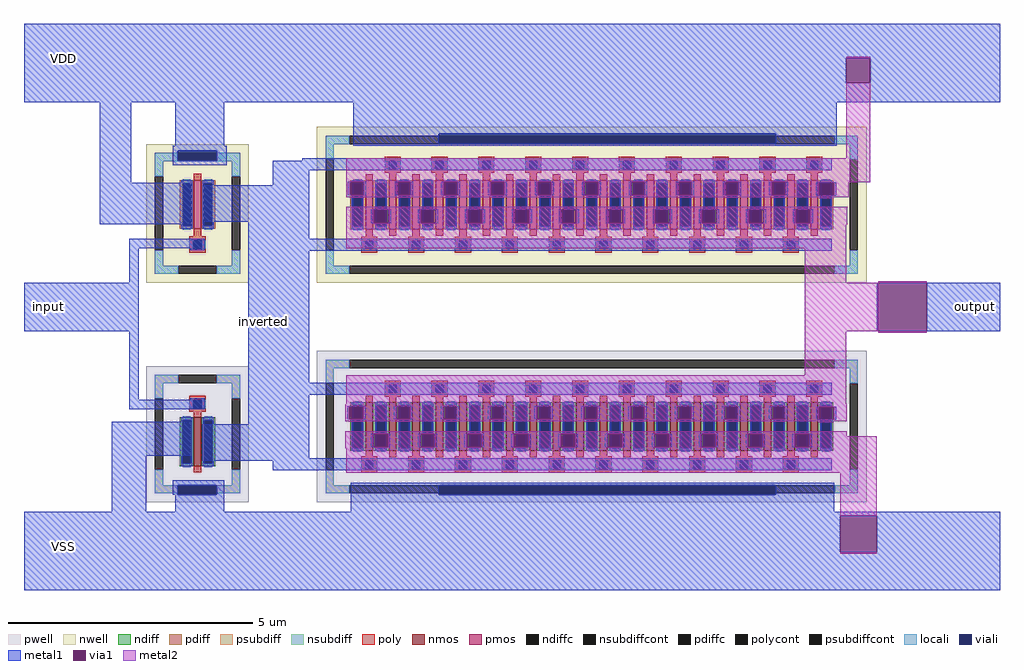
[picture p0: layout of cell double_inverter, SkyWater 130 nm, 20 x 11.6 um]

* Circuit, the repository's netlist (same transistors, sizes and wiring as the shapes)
** sch_path: /home/ttuser/tt09-analog-double-inverter/xschem/double_inverter.sch
.subckt double_inverter VDD VSS output input
*.PININFO VDD:B VSS:B input:I output:O
XM1 inverted input VDD VDD sky130_fd_pr__pfet_01v8 L=0.15 W=1 nf=1 m=1
XM2 inverted input VSS VSS sky130_fd_pr__nfet_01v8 L=0.15 W=1 nf=1 m=1
XM3 output inverted VDD VDD sky130_fd_pr__pfet_01v8 L=0.15 W=20 nf=20 m=1
XM4 output inverted VSS VSS sky130_fd_pr__nfet_01v8 L=0.15 W=20 nf=20 m=1
.ends
.end

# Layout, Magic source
magic
tech sky130A
magscale 1 2
<< viali >>
rect 3500 -630 4880 -590
rect 2430 -700 2590 -660
rect 2430 -2070 2590 -2030
rect 3500 -2070 4880 -2030
<< metal1 >>
rect 1800 -281 5800 -140
rect 1800 -380 5170 -281
rect 5269 -380 5800 -281
rect 1800 -460 5800 -380
rect 2110 -790 2240 -460
rect 2420 -640 2620 -460
rect 3150 -590 5130 -460
rect 3150 -630 3500 -590
rect 4880 -630 5130 -590
rect 3150 -640 5130 -630
rect 2410 -660 2630 -640
rect 2410 -700 2430 -660
rect 2590 -700 2630 -660
rect 2940 -700 5110 -690
rect 2410 -720 2630 -700
rect 2820 -740 5110 -700
rect 2110 -960 2490 -790
rect 2820 -800 2970 -740
rect 2540 -950 2970 -800
rect 3127 -842 3137 -787
rect 3193 -842 3203 -787
rect 3319 -842 3329 -787
rect 3385 -842 3395 -787
rect 3511 -842 3521 -787
rect 3577 -842 3587 -787
rect 3703 -842 3713 -787
rect 3769 -842 3779 -787
rect 3895 -842 3905 -787
rect 3961 -842 3971 -787
rect 4087 -842 4097 -787
rect 4153 -842 4163 -787
rect 4279 -842 4289 -787
rect 4345 -842 4355 -787
rect 4471 -842 4481 -787
rect 4537 -842 4547 -787
rect 4663 -842 4673 -787
rect 4729 -842 4739 -787
rect 4855 -842 4865 -787
rect 4921 -842 4931 -787
rect 5047 -844 5057 -789
rect 5119 -844 5129 -789
rect 2720 -1020 2970 -950
rect 3224 -956 3234 -900
rect 3295 -956 3305 -900
rect 3416 -956 3426 -900
rect 3487 -956 3497 -900
rect 3608 -956 3618 -900
rect 3679 -956 3689 -900
rect 3800 -956 3810 -900
rect 3871 -956 3881 -900
rect 3992 -956 4002 -900
rect 4063 -956 4073 -900
rect 4184 -956 4194 -900
rect 4255 -956 4265 -900
rect 4376 -956 4386 -900
rect 4447 -956 4457 -900
rect 4568 -956 4578 -900
rect 4639 -956 4649 -900
rect 4760 -956 4770 -900
rect 4831 -956 4841 -900
rect 4952 -956 4962 -900
rect 5023 -956 5033 -900
rect 2231 -1060 2539 -1021
rect 2231 -1200 2270 -1060
rect 1800 -1400 2270 -1200
rect 2231 -1680 2270 -1400
rect 2720 -1070 5110 -1020
rect 2720 -1610 2970 -1070
rect 5294 -1400 5300 -1200
rect 5500 -1400 5800 -1200
rect 2720 -1660 5110 -1610
rect 2231 -1719 2539 -1680
rect 2160 -1910 2490 -1770
rect 2720 -1780 2970 -1660
rect 3124 -1761 3134 -1706
rect 3190 -1761 3200 -1706
rect 3316 -1761 3326 -1706
rect 3382 -1761 3392 -1706
rect 3508 -1761 3518 -1706
rect 3574 -1761 3584 -1706
rect 3700 -1761 3710 -1706
rect 3766 -1761 3776 -1706
rect 3892 -1761 3902 -1706
rect 3958 -1761 3968 -1706
rect 4084 -1761 4094 -1706
rect 4150 -1761 4160 -1706
rect 4276 -1761 4286 -1706
rect 4342 -1761 4352 -1706
rect 4468 -1761 4478 -1706
rect 4534 -1761 4544 -1706
rect 4660 -1761 4670 -1706
rect 4726 -1761 4736 -1706
rect 4852 -1761 4862 -1706
rect 4918 -1761 4928 -1706
rect 5047 -1763 5057 -1708
rect 5119 -1763 5129 -1708
rect 2160 -2140 2300 -1910
rect 2530 -1920 2970 -1780
rect 3221 -1875 3231 -1819
rect 3292 -1875 3302 -1819
rect 3413 -1875 3423 -1819
rect 3484 -1875 3494 -1819
rect 3605 -1875 3615 -1819
rect 3676 -1875 3686 -1819
rect 3797 -1875 3807 -1819
rect 3868 -1875 3878 -1819
rect 3989 -1875 3999 -1819
rect 4060 -1875 4070 -1819
rect 4181 -1875 4191 -1819
rect 4252 -1875 4262 -1819
rect 4373 -1875 4383 -1819
rect 4444 -1875 4454 -1819
rect 4565 -1875 4575 -1819
rect 4636 -1875 4646 -1819
rect 4757 -1875 4767 -1819
rect 4828 -1875 4838 -1819
rect 4949 -1875 4959 -1819
rect 5020 -1875 5030 -1819
rect 2530 -1930 5110 -1920
rect 2820 -1970 5110 -1930
rect 2410 -2030 2620 -2010
rect 2410 -2070 2430 -2030
rect 2590 -2070 2620 -2030
rect 2420 -2140 2620 -2070
rect 3140 -2030 5120 -2020
rect 3140 -2070 3500 -2030
rect 4880 -2070 5120 -2030
rect 3140 -2140 5120 -2070
rect 1800 -2155 5800 -2140
rect 1800 -2305 5145 -2155
rect 5295 -2305 5800 -2155
rect 1800 -2460 5800 -2305
<< via1 >>
rect 5170 -380 5269 -281
rect 3137 -842 3193 -787
rect 3329 -842 3385 -787
rect 3521 -842 3577 -787
rect 3713 -842 3769 -787
rect 3905 -842 3961 -787
rect 4097 -842 4153 -787
rect 4289 -842 4345 -787
rect 4481 -842 4537 -787
rect 4673 -842 4729 -787
rect 4865 -842 4921 -787
rect 5057 -844 5119 -789
rect 3234 -956 3295 -900
rect 3426 -956 3487 -900
rect 3618 -956 3679 -900
rect 3810 -956 3871 -900
rect 4002 -956 4063 -900
rect 4194 -956 4255 -900
rect 4386 -956 4447 -900
rect 4578 -956 4639 -900
rect 4770 -956 4831 -900
rect 4962 -956 5023 -900
rect 5300 -1400 5500 -1200
rect 3134 -1761 3190 -1706
rect 3326 -1761 3382 -1706
rect 3518 -1761 3574 -1706
rect 3710 -1761 3766 -1706
rect 3902 -1761 3958 -1706
rect 4094 -1761 4150 -1706
rect 4286 -1761 4342 -1706
rect 4478 -1761 4534 -1706
rect 4670 -1761 4726 -1706
rect 4862 -1761 4918 -1706
rect 5057 -1763 5119 -1708
rect 3231 -1875 3292 -1819
rect 3423 -1875 3484 -1819
rect 3615 -1875 3676 -1819
rect 3807 -1875 3868 -1819
rect 3999 -1875 4060 -1819
rect 4191 -1875 4252 -1819
rect 4383 -1875 4444 -1819
rect 4575 -1875 4636 -1819
rect 4767 -1875 4828 -1819
rect 4959 -1875 5020 -1819
rect 5145 -2305 5295 -2155
<< metal2 >>
rect 5170 -281 5269 -275
rect 5170 -690 5269 -380
rect 3120 -787 5269 -690
rect 3120 -842 3137 -787
rect 3193 -842 3329 -787
rect 3385 -842 3521 -787
rect 3577 -842 3713 -787
rect 3769 -842 3905 -787
rect 3961 -842 4097 -787
rect 4153 -842 4289 -787
rect 4345 -842 4481 -787
rect 4537 -842 4673 -787
rect 4729 -842 4865 -787
rect 4921 -789 5269 -787
rect 4921 -842 5057 -789
rect 3120 -844 5057 -842
rect 5119 -844 5180 -789
rect 3120 -850 5180 -844
rect 3137 -852 3193 -850
rect 3329 -852 3385 -850
rect 3521 -852 3577 -850
rect 3713 -852 3769 -850
rect 3905 -852 3961 -850
rect 4097 -852 4153 -850
rect 4289 -852 4345 -850
rect 4481 -852 4537 -850
rect 4673 -852 4729 -850
rect 4865 -852 4921 -850
rect 5057 -854 5119 -850
rect 3120 -900 5174 -890
rect 3120 -956 3234 -900
rect 3295 -956 3426 -900
rect 3487 -956 3618 -900
rect 3679 -956 3810 -900
rect 3871 -956 4002 -900
rect 4063 -956 4194 -900
rect 4255 -956 4386 -900
rect 4447 -956 4578 -900
rect 4639 -956 4770 -900
rect 4831 -956 4962 -900
rect 5023 -956 5174 -900
rect 3120 -960 5174 -956
rect 3120 -1060 5170 -960
rect 5000 -1200 5170 -1060
rect 5300 -1200 5500 -1194
rect 5000 -1400 5300 -1200
rect 5000 -1580 5170 -1400
rect 5300 -1406 5500 -1400
rect 3120 -1699 5170 -1580
rect 3117 -1706 5171 -1699
rect 3117 -1761 3134 -1706
rect 3190 -1761 3326 -1706
rect 3382 -1761 3518 -1706
rect 3574 -1761 3710 -1706
rect 3766 -1761 3902 -1706
rect 3958 -1761 4094 -1706
rect 4150 -1761 4286 -1706
rect 4342 -1761 4478 -1706
rect 4534 -1761 4670 -1706
rect 4726 -1761 4862 -1706
rect 4918 -1708 5171 -1706
rect 4918 -1761 5057 -1708
rect 3117 -1763 5057 -1761
rect 5119 -1763 5171 -1708
rect 3117 -1769 5171 -1763
rect 3134 -1771 3190 -1769
rect 3326 -1771 3382 -1769
rect 3518 -1771 3574 -1769
rect 3710 -1771 3766 -1769
rect 3902 -1771 3958 -1769
rect 4094 -1771 4150 -1769
rect 4286 -1771 4342 -1769
rect 4478 -1771 4534 -1769
rect 4670 -1771 4726 -1769
rect 4862 -1771 4918 -1769
rect 5057 -1773 5119 -1769
rect 3117 -1819 5171 -1809
rect 3117 -1875 3231 -1819
rect 3292 -1875 3423 -1819
rect 3484 -1875 3615 -1819
rect 3676 -1875 3807 -1819
rect 3868 -1875 3999 -1819
rect 4060 -1875 4191 -1819
rect 4252 -1875 4383 -1819
rect 4444 -1875 4575 -1819
rect 4636 -1875 4767 -1819
rect 4828 -1875 4959 -1819
rect 5020 -1830 5171 -1819
rect 5020 -1875 5295 -1830
rect 3117 -1879 5295 -1875
rect 3120 -1980 5295 -1879
rect 5145 -2155 5295 -1980
rect 5145 -2311 5295 -2305
use sky130_fd_pr__pfet_01v8_2DVCWQ  sky130_fd_pr__pfet_01v8_2DVCWQ_0
transform 1 0 4127 0 1 -881
box -1127 -319 1127 319
use sky130_fd_pr__pfet_01v8_MGS3BN  XM1
transform 1 0 2511 0 -1 -916
box -211 -284 211 284
use sky130_fd_pr__nfet_01v8_64Z3AY  XM2
transform 1 0 2511 0 1 -1821
box -211 -279 211 279
use sky130_fd_pr__nfet_01v8_FUP3AZ  XM4
transform 1 0 4127 0 1 -1790
box -1127 -310 1127 310
<< labels >>
flabel metal1 5600 -1400 5800 -1200 0 FreeSans 256 0 0 0 output
port 2 nsew
flabel metal1 1800 -1400 2000 -1200 0 FreeSans 256 0 0 0 input
port 3 nsew
flabel metal1 1860 -380 2060 -180 0 FreeSans 256 0 0 0 VDD
port 0 nsew
flabel metal1 1860 -2380 2060 -2180 0 FreeSans 256 0 0 0 VSS
port 1 nsew
flabel metal1 2720 -1890 2840 -830 0 FreeSans 320 0 0 0 inverted
<< end >>

# cell sky130_fd_pr__pfet_01v8_2DVCWQ: kit device sky130_fd_pr__pfet_01v8, w 1.0 l 0.15 m 1 nf 20 diffcov 100 polycov 100 guard 1 glc 1 grc 1 gtc 1 gbc 1 tbcov 100 rlcov 100 topc 1 botc 0 poverlap 0 doverlap 1 lmin 0.15 wmin 0.42 compatible {sky130_fd_pr__pfet_01v8 sky130_fd_pr__pfet_01v8_lvt sky130_fd_pr__pfet_01v8_hvt sky130_fd_pr__pfet_g5v0d10v5} full_metal 1 viasrc 100 viadrn 100 viagate 100 viagb 0 viagr 0 viagl 0 viagt 0

# cell sky130_fd_pr__pfet_01v8_MGS3BN: kit device sky130_fd_pr__pfet_01v8, w 1.0 l 0.15 m 1 nf 1 diffcov 100 polycov 100 guard 1 glc 1 grc 1 gtc 1 gbc 1 tbcov 100 rlcov 100 topc 1 botc 0 poverlap 0 doverlap 1 lmin 0.15 wmin 0.42 compatible {sky130_fd_pr__pfet_01v8 sky130_fd_pr__pfet_01v8_lvt sky130_fd_pr__pfet_01v8_hvt sky130_fd_pr__pfet_g5v0d10v5} full_metal 1 viasrc 100 viadrn 100 viagate 100 viagb 0 viagr 0 viagl 0 viagt 0

# cell sky130_fd_pr__nfet_01v8_64Z3AY: kit device sky130_fd_pr__nfet_01v8, w 1.0 l 0.15 m 1 nf 1 diffcov 100 polycov 100 guard 1 glc 1 grc 1 gtc 1 gbc 1 tbcov 100 rlcov 100 topc 1 botc 0 poverlap 0 doverlap 1 lmin 0.15 wmin 0.42 compatible {sky130_fd_pr__nfet_01v8 sky130_fd_pr__nfet_01v8_lvt sky130_fd_bs_flash__special_sonosfet_star sky130_fd_pr__nfet_g5v0d10v5 sky130_fd_pr__nfet_05v0_nvt sky130_fd_pr__nfet_03v3_nvt} full_metal 1 viasrc 100 viadrn 100 viagate 100 viagb 0 viagr 0 viagl 0 viagt 0

# cell sky130_fd_pr__nfet_01v8_FUP3AZ: kit device sky130_fd_pr__nfet_01v8, w 1.0 l 0.15 m 1 nf 20 diffcov 100 polycov 100 guard 1 glc 1 grc 1 gtc 1 gbc 1 tbcov 100 rlcov 100 topc 1 botc 0 poverlap 0 doverlap 1 lmin 0.15 wmin 0.42 compatible {sky130_fd_pr__nfet_01v8 sky130_fd_pr__nfet_01v8_lvt sky130_fd_bs_flash__special_sonosfet_star sky130_fd_pr__nfet_g5v0d10v5 sky130_fd_pr__nfet_05v0_nvt sky130_fd_pr__nfet_03v3_nvt} full_metal 1 viasrc 100 viadrn 100 viagate 100 viagb 0 viagr 0 viagl 0 viagt 0
